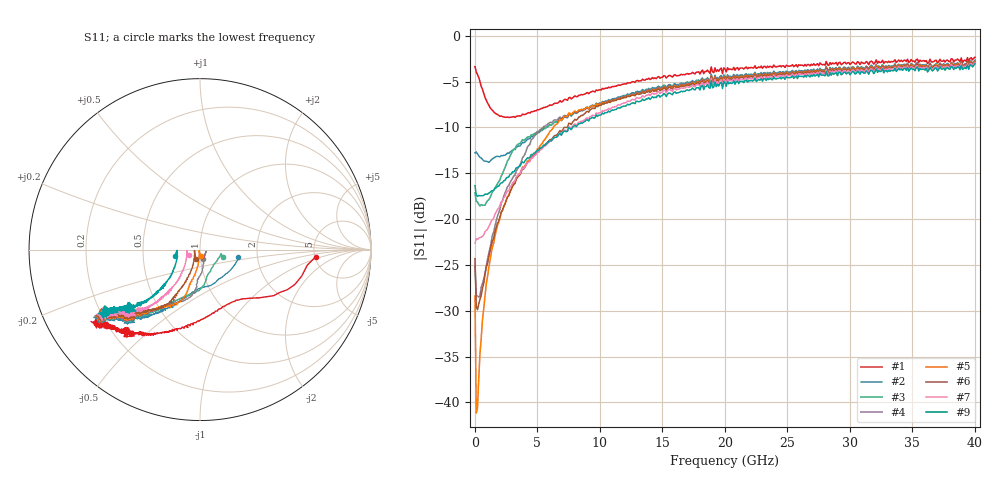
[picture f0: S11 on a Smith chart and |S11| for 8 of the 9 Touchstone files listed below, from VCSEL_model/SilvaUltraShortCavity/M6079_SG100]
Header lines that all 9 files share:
!Agilent Technologies,N5247A,US51170167,A.09.90.10
!Agilent N5247A: A.09.90.10
!Correction: S22(Full 1 Port(2))
!S1P File: Measurement: S22:
# Hz S  RI  R 50
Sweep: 10 MHz to 40 GHz
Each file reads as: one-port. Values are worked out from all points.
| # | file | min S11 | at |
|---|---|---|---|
| 1 | Vb_0_8V_0_3mA.s1p | -8.9 dB | 2.709 GHz |
| 2 | Vb_0_9V_1_0mA.s1p | -13.8 dB | 1.11 GHz |
| 3 | Vb_0_92V_1_3mA.s1p | -18.6 dB | 409.9 MHz |
| 4 | Vb_0_94V_1_6mA.s1p | -28.5 dB | 309.9 MHz |
| 5 | Vb_0_96V_2_1mA.s1p | -41.2 dB | 110 MHz |
| 6 | Vb_1_0V_3_0mA.s1p | -29.9 dB | 209.9 MHz |
| 7 | Vb_1_1V_5_3mA.s1p | -22.6 dB | 10 MHz |
| 8 | Vb_1_2V_7_9mA.s1p | -18.7 dB | 209.9 MHz |
| 9 | Vb_1_25V_9_2mA.s1p | -17.5 dB | 209.9 MHz |
